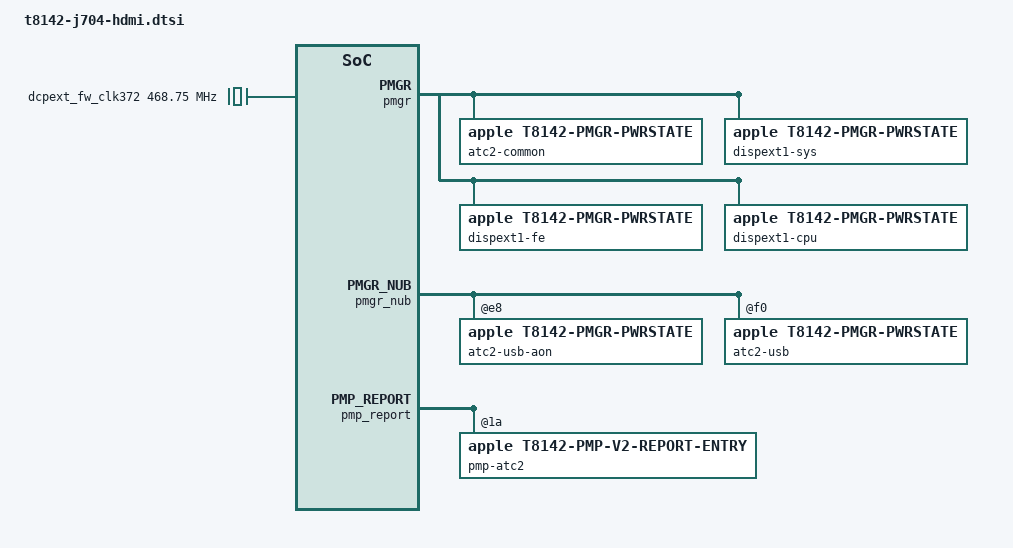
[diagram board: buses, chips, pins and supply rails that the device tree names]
// SPDX-License-Identifier: GPL-2.0+ OR MIT
/*
 * J704 HDMI port: DCPEXT1 (crossbar source 4) drives the fixed ATC2
 * DisplayPort link into the on-board DP-to-HDMI converter (power: SMC gP0f
 * and gP1a; hotplug: AOP GPIO 41). The converter's reset and I2C maintenance
 * interface stay with the firmware, as on the T602x/T604x MacBook Pros.
 *
 * DCPEXT1 runs the internal DCP's firmware 27 image, left idle by iBoot. The
 * boot loader (aura, T8142 display handoff) validates its locked DART streams,
 * reserves its carveouts (ADT region-id-88/89) and segments, then enables the
 * controller, its mailbox, its DARTs and its retained PMGR chain; until then
 * they stay disabled and the internal panel is unaffected. Its result is in
 * /chosen/aurora,dcpext1-handoff.
 *
 * HDMI only: no Type-C routes yet (DCPEXT1 can also drive ATC0/1/3). No HDMI
 * audio (dp-audio2/admac-dispext1: firmware-27 AV audio is not supported).
 *
 * Nodes follow Dmitriy's (dmitzsaz) J704 tree (wip/j704/display: t8142-display.dtsi,
 * t8142-j704-display.dtsi, t8142.dtsi ATC2/AOP pinctrl/PMP report); addresses,
 * IRQs and GPIOs checked against this machine's ADT (display-crossbar0 dfp atc2,
 * atc2-dpphy port-type 6, dp2hdmi-gpio0, aop-gpio 0x180824000 + arm-io base).
 */

#include <dt-bindings/gpio/gpio.h>
#include <dt-bindings/phy/phy.h>

/ {
	aliases {
		/* aura copies the DP LIOA/common tunables by this alias */
		atcphy2 = &atcphy2;
		dcpext1 = &dcpext1;
		/* aura's session names: scanout dispextN, PIODMA dispextN-piodma */
		dispext1 = &display;
		dispext1-piodma = &dispext1_piodma;
	};
};

&pmgr {
	ps_atc2_common: power-controller@2d8 {
		compatible = "apple,t8142-pmgr-pwrstate", "apple,t8103-pmgr-pwrstate";
		reg = <0x2d8 4>;
		#power-domain-cells = <0>;
		#reset-cells = <0>;
		label = "atc2-common";
	};

	/*
	 * These islands stay owned by the firmware session inherited from iBoot:
	 * as apple,firmware-owned domains they are always on for Linux, which
	 * never reads or changes them, so leaving them enabled changes nothing
	 * on the bus. They are ready for dispext1_dart when the loader hands
	 * dcpext1 over: it then enables dcpext1 and its DARTs and adds
	 * dispext1_dart to &display's iommus itself (aura, dt_set_t8142_dcpext()).
	 * Without a handoff dcpext1 and its DARTs stay disabled and &display
	 * lists only disp0_dart.
	 */
	ps_dispext1_sys: power-controller@2b8 {
		compatible = "apple,t8142-pmgr-pwrstate", "apple,t8103-pmgr-pwrstate";
		reg = <0x2b8 4>;
		#power-domain-cells = <0>;
		#reset-cells = <0>;
		apple,firmware-owned;
		label = "dispext1-sys";
	};

	ps_dispext1_fe: power-controller@3a8 {
		compatible = "apple,t8142-pmgr-pwrstate", "apple,t8103-pmgr-pwrstate";
		reg = <0x3a8 4>;
		#power-domain-cells = <0>;
		#reset-cells = <0>;
		power-domains = <&ps_dispext1_sys>;
		apple,firmware-owned;
		label = "dispext1-fe";
	};

	ps_dispext1_cpu: power-controller@3b8 {
		compatible = "apple,t8142-pmgr-pwrstate", "apple,t8103-pmgr-pwrstate";
		reg = <0x3b8 4>;
		#power-domain-cells = <0>;
		#reset-cells = <0>;
		power-domains = <&ps_dispext1_fe>;
		apple,firmware-owned;
		label = "dispext1-cpu";
	};
};

/* ADT power states of group 1 (ATC USB) are in the nub PMGR. */
&pmgr_nub {
	/*
	 * ADT power state group 1 = the nub PMGR, as for ATC0/1/3's USB states.
	 * ATC2_USB_AON's parent is ATC2_COMMON (ADT), which iBoot leaves off.
	 */
	ps_atc2_usb_aon: power-controller@e8 {
		compatible = "apple,t8142-pmgr-pwrstate", "apple,t8103-pmgr-pwrstate";
		reg = <0xe8 4>;
		#power-domain-cells = <0>;
		#reset-cells = <0>;
		power-domains = <&ps_atc2_common>;
		label = "atc2-usb-aon";
	};

	ps_atc2_usb: power-controller@f0 {
		compatible = "apple,t8142-pmgr-pwrstate", "apple,t8103-pmgr-pwrstate";
		reg = <0xf0 4>;
		#power-domain-cells = <0>;
		#reset-cells = <0>;
		power-domains = <&ps_atc2_common>, <&ps_atc2_usb_aon>;
		label = "atc2-usb";
	};
};

&{/soc} {
	pinctrl_aop: pinctrl@390824000 {
		compatible = "apple,t8142-pinctrl", "apple,t8140-pinctrl", "apple,t8103-pinctrl";
		reg = <0x3 0x90824000 0x0 0x4000>;
		gpio-controller;
		#gpio-cells = <2>;
		gpio-ranges = <&pinctrl_aop 0 0 77>;
		apple,npins = <77>;
		interrupt-controller;
		#interrupt-cells = <2>;
		interrupt-parent = <&aic>;
		interrupts = <AIC_IRQ 480 IRQ_TYPE_LEVEL_HIGH>,
			     <AIC_IRQ 481 IRQ_TYPE_LEVEL_HIGH>,
			     <AIC_IRQ 482 IRQ_TYPE_LEVEL_HIGH>,
			     <AIC_IRQ 483 IRQ_TYPE_LEVEL_HIGH>,
			     <AIC_IRQ 484 IRQ_TYPE_LEVEL_HIGH>,
			     <AIC_IRQ 485 IRQ_TYPE_LEVEL_HIGH>,
			     <AIC_IRQ 486 IRQ_TYPE_LEVEL_HIGH>;
	};

	/* ATC2 has no USB controller: only its DisplayPort banks. */
	atcphy2: phy@413000000 {
		compatible = "apple,t8142-atcphy";
		reg = <4 0x13000000 0 0x4c000>,
		      <4 0x13050000 0 0x8000>,
		      <4 0x10000000 0 0x8000>,
		      <4 0x10020000 0 0x4000>;
		reg-names = "core", "lpdptx", "axi2af", "lioa";
		#phy-cells = <1>;
		#reset-cells = <0>;
		/* dcpext1 finds this PHY's mux over the graph to select DisplayPort. */
		mode-switch;
		power-domains = <&pmp_report_atc2>;

		ports {
			#address-cells = <1>;
			#size-cells = <0>;

			port@2 {
				reg = <2>;

				atcphy2_dp: endpoint {
					remote-endpoint = <&dcpext1_hdmi>;
				};
			};
		};
	};

	dpxbar2: mux-controller@41304c000 {
		compatible = "apple,t8142-display-crossbar";
		reg = <4 0x1304c000 0 0x4000>;
		#mux-control-cells = <1>;
		power-domains = <&pmp_report_atc2>;
	};

	/* /arm-io/pmgr bwr-agent DISP_EXT1 (4): 0x20000 + 4 * 0x4000 */
	pmgr_dcpext1: power-management@382730000 {
		reg = <3 0x82730000 0 0x8>, <3 0x827b4000 0 0x4>;
		reg-names = "dcp-bw-scratch", "dcp-bw-doorbell";
		#apple,bw-scratch-cells = <3>;
		#apple,bw-doorbell-cells = <2>;
	};

	dcpext1_mbox: mailbox@3aae08000 {
		compatible = "apple,t8142-asc-mailbox", "apple,asc-mailbox-v4";
		reg = <3 0xaae08000 0 0x4000>;
		interrupts = <AIC_IRQ 925 IRQ_TYPE_LEVEL_HIGH>,
			     <AIC_IRQ 926 IRQ_TYPE_LEVEL_HIGH>,
			     <AIC_IRQ 927 IRQ_TYPE_LEVEL_HIGH>,
			     <AIC_IRQ 928 IRQ_TYPE_LEVEL_HIGH>;
		interrupt-names = "send-empty", "send-not-empty",
				  "recv-empty", "recv-not-empty";
		#mbox-cells = <0>;
		power-domains = <&ps_dispext1_cpu>;
		status = "disabled";
	};

	dcpext1: dcp@3aae00000 {
		compatible = "apple,t8142-dcpext", "apple,dcpext";
		reg = <3 0xaae00000 0 0x4000>,
		      <3 0xa8000000 0 0xb1c000>,
		      <3 0xaa240000 0 0x10000>,
		      <3 0xaa3ac000 0 0x4000>,
		      <3 0xaa800000 0 0x800000>,
		      <3 0x82700000 0 0x114000>,
		      <3 0xaa850000 0 0x4000>;
		reg-names = "coproc", "disp-0", "disp-1", "disp-2",
			    "disp-3", "disp-4", "iop-vbar";
		mboxes = <&dcpext1_mbox>;
		mbox-names = "mbox";
		iommus = <&dcpext1_dart 23>;
		power-domains = <&ps_dispext1_cpu>;
		/* The firmware's clocks: /arm-io/dispext1 clock-ids, as on disp0 (J813 values). */
		apple,clock-ids = <372 433>;
		clocks = <&clkref>, <&dcpext_fw_clk372>, <&dcpext_fw_clk433>;
		clock-names = "clock-154", "firmware-0", "firmware-1";
		apple,bw-scratch = <&pmgr_dcpext1 0 5 0>;
		apple,bw-doorbell = <&pmgr_dcpext1 1 6>;
		apple,iomfb-surfaces = <0 0 1 0>;
		apple,dcp-index = <2>;
		#address-cells = <2>;
		#size-cells = <2>;
		phandle = <&dcpext1>;

		apple,connector-type = "HDMI-A";
		apple,dptx-phy = <2>;
		mux-index = <4>;
		mux-controls = <&dpxbar2 0>;
		mux-control-names = "dp-xbar";
		phys = <&atcphy2 PHY_TYPE_DP>;
		phy-names = "dp-phy";
		hdmi-hpd-gpios = <&pinctrl_aop 41 GPIO_ACTIVE_HIGH>;
		hdmi-pwren-gpios = <&smc_gpio 15 GPIO_ACTIVE_HIGH>;
		dp2hdmi-pwren-gpios = <&smc_gpio 26 GPIO_ACTIVE_HIGH>;

		/* Enabled by the boot loader once it has checked the session. */
		status = "disabled";

		dispext1_piodma: piodma {
			iommus = <&dispext1_dart 16>;
			phandle = <&dispext1_piodma>;
		};

		ports {
			#address-cells = <1>;
			#size-cells = <0>;

			port@1 {
				reg = <1>;

				dcpext1_hdmi: endpoint {
					remote-endpoint = <&atcphy2_dp>;
				};
			};
		};
	};
};

/* Scanout and PIODMA share the first register window, as on disp0. */
/*
 * soc-device 32, ATC2: PMGR flags ATC2_COMMON as notify-PMP. The PHY of the
 * DisplayPort-only ATC2 is not usable until the PMP has acknowledged it. An
 * entry's reg is its soc-device record index (ADT iop-pmp-nub ptd-range).
 */
&pmp_report {
	pmp_report_atc2: report@1a {
		compatible = "apple,t8142-pmp-v2-report-entry",
			     "apple,t8140-pmp-v2-report-entry";
		reg = <26>;
		label = "pmp-atc2";
		#power-domain-cells = <0>;
		power-domains = <&ps_atc2_usb>;
	};
};

&dispext1_dart {
	reg = <3 0xaa300000 0 0xc000>;
	apple,dma-range = <0x100 0x0 0x10 0x0>;
	power-domains = <&ps_dispext1_cpu>;
};

&dcpext1_dart {
	apple,dma-range = <0x100 0x0 0x10 0x0>;
	power-domains = <&ps_dispext1_cpu>;
};

/ {
	/*
	 * DCPEXT1 firmware clocks (/arm-io/dispext1 clock-ids 372 and 433):
	 * /arm-io clock-frequencies entry 0x74 = 468.75 MHz; 433 has no entry
	 * (as disp0's 431). Values from the J813/J815 tree (same SoC).
	 */
	dcpext_fw_clk372: clock-dcpext-firmware-372 {
		compatible = "fixed-clock";
		#clock-cells = <0>;
		clock-frequency = <468750000>;
		clock-output-names = "dcpext_firmware_372";
	};

	dcpext_fw_clk433: clock-dcpext-firmware-433 {
		compatible = "fixed-clock";
		#clock-cells = <0>;
		clock-frequency = <0>;
		clock-output-names = "dcpext_firmware_433";
	};
};
